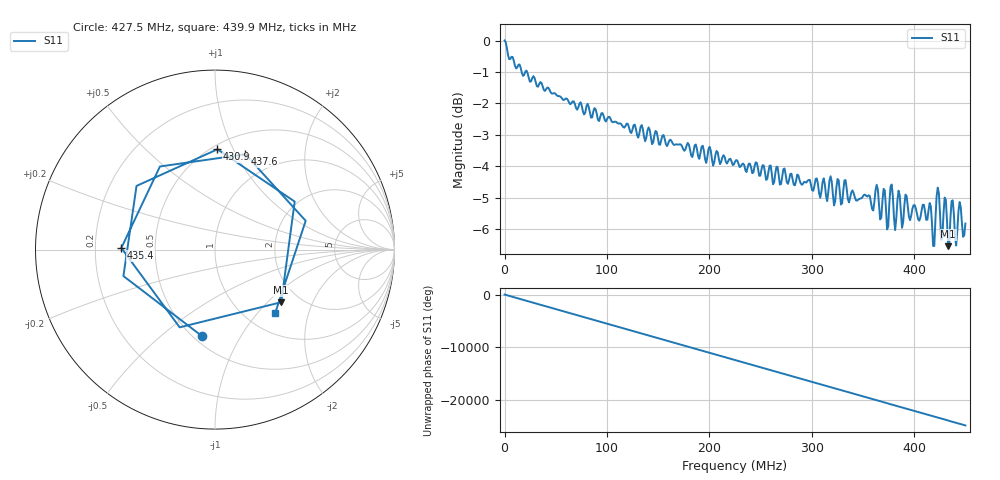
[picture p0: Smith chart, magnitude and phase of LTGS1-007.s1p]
! NanoVNA-App
! Date: 2026-09-29 13:51:15
! Start: 50kHz Stop: 450MHz Points: 401
! S-Parameter data: F S11
# Hz S RI R 50
!  Frequency  S11_Real  S11_Imag
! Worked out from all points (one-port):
!   401 points, 50 kHz to 450 MHz, reference 50 ohm
!   lowest |S11| = -6.5 dB at 433.1 MHz (marker M1), VSWR 2.78, Z = 80.3 - j60.6 ohm
!   |S11| at or under -10 dB: nowhere
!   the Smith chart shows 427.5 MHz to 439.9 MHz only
!   S11 on the Smith chart (normalised r, x): 427.5 MHz: 0.55, -0.69; 430.9 MHz: 0.54, +0.87; 435.4 MHz: 0.31, +0.01; 437.6 MHz: 0.71, +1.09; 439.9 MHz: 1.34, -1.25
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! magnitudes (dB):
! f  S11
! 50 kHz  0.0
! 18.05 MHz  -1.1
! 56.29 MHz  -1.8
! 112.5 MHz  -2.6
! 168.8 MHz  -3.3
! 225 MHz  -3.9
! 281.3 MHz  -4.4
! 333 MHz  -4.4
! 337.5 MHz  -5.0
! 358.9 MHz  -5.4
! 363.4 MHz  -4.6
! 373.5 MHz  -6.0
! 378 MHz  -4.6
! 381.4 MHz  -6.0
! 384.8 MHz  -4.8
! 388.1 MHz  -6.0
! 393.8 MHz  -5.3
! 415.1 MHz  -5.2
! 418.5 MHz  -6.5
! 423 MHz  -4.7
! 427.5 MHz  -6.3
! 430.9 MHz  -5.1
! 433.1 MHz  -6.5
! 435.4 MHz  -5.6
! 437.6 MHz  -5.1
! 439.9 MHz  -6.2
! 444.4 MHz  -5.1
! 450 MHz  -5.8
